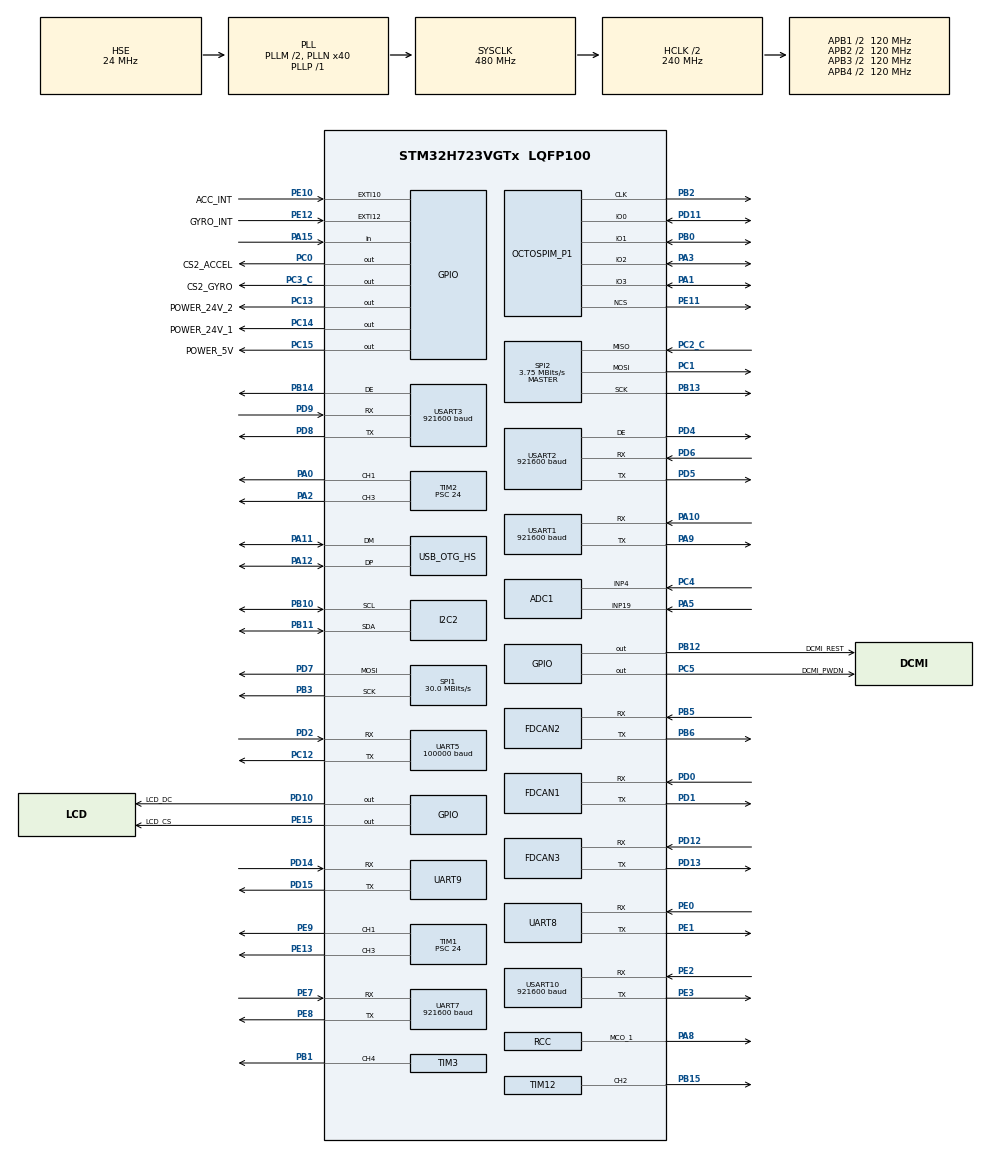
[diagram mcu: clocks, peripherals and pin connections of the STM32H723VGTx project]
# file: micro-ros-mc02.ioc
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ADC1.Channel-0\#ChannelRegularConversion=ADC_CHANNEL_4
ADC1.Channel-1\#ChannelRegularConversion=ADC_CHANNEL_19
ADC1.ClockPrescaler=ADC_CLOCK_ASYNC_DIV64
ADC1.ContinuousConvMode=ENABLE
ADC1.ConversionDataManagement=ADC_CONVERSIONDATA_DMA_CIRCULAR
ADC1.NbrOfConversion=2
ADC1.NbrOfConversionFlag=1
ADC1.OffsetNumber-0\#ChannelRegularConversion=ADC_OFFSET_NONE
ADC1.OffsetNumber-1\#ChannelRegularConversion=ADC_OFFSET_NONE
ADC1.OffsetSignedSaturation-0\#ChannelRegularConversion=DISABLE
ADC1.OffsetSignedSaturation-1\#ChannelRegularConversion=DISABLE
ADC1.Rank-0\#ChannelRegularConversion=1
ADC1.Rank-1\#ChannelRegularConversion=2
ADC1.SamplingTime-0\#ChannelRegularConversion=ADC_SAMPLETIME_32CYCLES_5
ADC1.SamplingTime-1\#ChannelRegularConversion=ADC_SAMPLETIME_32CYCLES_5
ADC1.master=1
CORTEX_M7.BaseAddress-Cortex_Memory_Protection_Unit_Region0_Settings=0x24000000
CORTEX_M7.CPU_DCache=Disabled
CORTEX_M7.CPU_ICache=Disabled
CORTEX_M7.Enable-Cortex_Memory_Protection_Unit_Region0_Settings=MPU_REGION_ENABLE
CORTEX_M7.IsBufferable-Cortex_Memory_Protection_Unit_Region0_Settings=MPU_ACCESS_BUFFERABLE
CORTEX_M7.IsCacheable-Cortex_Memory_Protection_Unit_Region0_Settings=MPU_ACCESS_CACHEABLE
CORTEX_M7.MPU_Control=__NULL
CORTEX_M7.Size-Cortex_Memory_Protection_Unit_Region0_Settings=MPU_REGION_SIZE_512B
CORTEX_M7.TypeExtField-Cortex_Memory_Protection_Unit_Region0_Settings=MPU_TEX_LEVEL1
Dma.ADC1.0.Direction=DMA_PERIPH_TO_MEMORY
Dma.ADC1.0.EventEnable=DISABLE
Dma.ADC1.0.FIFOMode=DMA_FIFOMODE_DISABLE
Dma.ADC1.0.Instance=DMA1_Stream0
Dma.ADC1.0.MemDataAlignment=DMA_MDATAALIGN_HALFWORD
Dma.ADC1.0.MemInc=DMA_MINC_ENABLE
Dma.ADC1.0.Mode=DMA_CIRCULAR
Dma.ADC1.0.PeriphDataAlignment=DMA_PDATAALIGN_HALFWORD
Dma.ADC1.0.PeriphInc=DMA_PINC_DISABLE
Dma.ADC1.0.Polarity=HAL_DMAMUX_REQ_GEN_RISING
Dma.ADC1.0.Priority=DMA_PRIORITY_LOW
Dma.ADC1.0.RequestNumber=1
Dma.ADC1.0.SignalID=NONE
Dma.ADC1.0.SyncEnable=DISABLE
Dma.ADC1.0.SyncPolarity=HAL_DMAMUX_SYNC_NO_EVENT
Dma.ADC1.0.SyncRequestNumber=1
Dma.ADC1.0.SyncSignalID=NONE
Dma.I2C2_RX.2.Direction=DMA_PERIPH_TO_MEMORY
Dma.I2C2_RX.2.EventEnable=DISABLE
Dma.I2C2_RX.2.FIFOMode=DMA_FIFOMODE_DISABLE
Dma.I2C2_RX.2.Instance=DMA1_Stream2
Dma.I2C2_RX.2.MemDataAlignment=DMA_MDATAALIGN_BYTE
Dma.I2C2_RX.2.MemInc=DMA_MINC_ENABLE
Dma.I2C2_RX.2.Mode=DMA_NORMAL
Dma.I2C2_RX.2.PeriphDataAlignment=DMA_PDATAALIGN_BYTE
Dma.I2C2_RX.2.PeriphInc=DMA_PINC_DISABLE
Dma.I2C2_RX.2.Polarity=HAL_DMAMUX_REQ_GEN_RISING
Dma.I2C2_RX.2.Priority=DMA_PRIORITY_LOW
Dma.I2C2_RX.2.RequestNumber=1
Dma.I2C2_RX.2.SignalID=NONE
Dma.I2C2_RX.2.SyncEnable=DISABLE
Dma.I2C2_RX.2.SyncPolarity=HAL_DMAMUX_SYNC_NO_EVENT
Dma.I2C2_RX.2.SyncRequestNumber=1
Dma.I2C2_RX.2.SyncSignalID=NONE
Dma.I2C2_TX.3.Direction=DMA_MEMORY_TO_PERIPH
Dma.I2C2_TX.3.EventEnable=DISABLE
Dma.I2C2_TX.3.FIFOMode=DMA_FIFOMODE_DISABLE
Dma.I2C2_TX.3.Instance=DMA1_Stream3
Dma.I2C2_TX.3.MemDataAlignment=DMA_MDATAALIGN_BYTE
Dma.I2C2_TX.3.MemInc=DMA_MINC_ENABLE
Dma.I2C2_TX.3.Mode=DMA_NORMAL
Dma.I2C2_TX.3.PeriphDataAlignment=DMA_PDATAALIGN_BYTE
Dma.I2C2_TX.3.PeriphInc=DMA_PINC_DISABLE
Dma.I2C2_TX.3.Polarity=HAL_DMAMUX_REQ_GEN_RISING
Dma.I2C2_TX.3.Priority=DMA_PRIORITY_LOW
Dma.I2C2_TX.3.RequestNumber=1
Dma.I2C2_TX.3.SignalID=NONE
Dma.I2C2_TX.3.SyncEnable=DISABLE
Dma.I2C2_TX.3.SyncPolarity=HAL_DMAMUX_SYNC_NO_EVENT
Dma.I2C2_TX.3.SyncRequestNumber=1
Dma.I2C2_TX.3.SyncSignalID=NONE
Dma.Request0=ADC1
Dma.Request1=UART5_RX
Dma.Request10=USART1_TX
Dma.Request11=USART1_RX
Dma.Request12=UART8_TX
Dma.Request13=UART8_RX
Dma.Request14=UART7_RX
Dma.Request15=UART7_TX
Dma.Request2=I2C2_RX
Dma.Request3=I2C2_TX
Dma.Request4=UART9_RX
Dma.Request5=UART9_TX
Dma.Request6=USART3_RX
Dma.Request7=USART3_TX
Dma.Request8=USART2_RX
Dma.Request9=USART2_TX
Dma.UART5_RX.1.Direction=DMA_PERIPH_TO_MEMORY
Dma.UART5_RX.1.EventEnable=DISABLE
Dma.UART5_RX.1.FIFOMode=DMA_FIFOMODE_DISABLE
Dma.UART5_RX.1.Instance=DMA1_Stream7
Dma.UART5_RX.1.MemDataAlignment=DMA_MDATAALIGN_BYTE
Dma.UART5_RX.1.MemInc=DMA_MINC_ENABLE
Dma.UART5_RX.1.Mode=DMA_NORMAL
Dma.UART5_RX.1.PeriphDataAlignment=DMA_PDATAALIGN_BYTE
Dma.UART5_RX.1.PeriphInc=DMA_PINC_DISABLE
Dma.UART5_RX.1.Polarity=HAL_DMAMUX_REQ_GEN_RISING
Dma.UART5_RX.1.Priority=DMA_PRIORITY_HIGH
Dma.UART5_RX.1.RequestNumber=1
Dma.UART5_RX.1.SignalID=NONE
Dma.UART5_RX.1.SyncEnable=DISABLE
Dma.UART5_RX.1.SyncPolarity=HAL_DMAMUX_SYNC_NO_EVENT
Dma.UART5_RX.1.SyncRequestNumber=1
Dma.UART5_RX.1.SyncSignalID=NONE
Dma.UART7_RX.14.Direction=DMA_PERIPH_TO_MEMORY
Dma.UART7_RX.14.EventEnable=DISABLE
Dma.UART7_RX.14.FIFOMode=DMA_FIFOMODE_DISABLE
Dma.UART7_RX.14.Instance=DMA2_Stream4
Dma.UART7_RX.14.MemDataAlignment=DMA_MDATAALIGN_BYTE
Dma.UART7_RX.14.MemInc=DMA_MINC_ENABLE
Dma.UART7_RX.14.Mode=DMA_CIRCULAR
Dma.UART7_RX.14.PeriphDataAlignment=DMA_PDATAALIGN_BYTE
Dma.UART7_RX.14.PeriphInc=DMA_PINC_DISABLE
Dma.UART7_RX.14.Polarity=HAL_DMAMUX_REQ_GEN_RISING
Dma.UART7_RX.14.Priority=DMA_PRIORITY_VERY_HIGH
Dma.UART7_RX.14.RequestNumber=1
Dma.UART7_RX.14.SignalID=NONE
Dma.UART7_RX.14.SyncEnable=DISABLE
Dma.UART7_RX.14.SyncPolarity=HAL_DMAMUX_SYNC_NO_EVENT
Dma.UART7_RX.14.SyncRequestNumber=1
Dma.UART7_RX.14.SyncSignalID=NONE
Dma.UART7_TX.15.Direction=DMA_MEMORY_TO_PERIPH
Dma.UART7_TX.15.EventEnable=DISABLE
Dma.UART7_TX.15.FIFOMode=DMA_FIFOMODE_DISABLE
Dma.UART7_TX.15.Instance=DMA2_Stream5
Dma.UART7_TX.15.MemDataAlignment=DMA_MDATAALIGN_BYTE
Dma.UART7_TX.15.MemInc=DMA_MINC_ENABLE
Dma.UART7_TX.15.Mode=DMA_NORMAL
Dma.UART7_TX.15.PeriphDataAlignment=DMA_PDATAALIGN_BYTE
Dma.UART7_TX.15.PeriphInc=DMA_PINC_DISABLE
Dma.UART7_TX.15.Polarity=HAL_DMAMUX_REQ_GEN_RISING
Dma.UART7_TX.15.Priority=DMA_PRIORITY_VERY_HIGH
Dma.UART7_TX.15.RequestNumber=1
Dma.UART7_TX.15.SignalID=NONE
Dma.UART7_TX.15.SyncEnable=DISABLE
Dma.UART7_TX.15.SyncPolarity=HAL_DMAMUX_SYNC_NO_EVENT
Dma.UART7_TX.15.SyncRequestNumber=1
Dma.UART7_TX.15.SyncSignalID=NONE
Dma.UART8_RX.13.Direction=DMA_PERIPH_TO_MEMORY
Dma.UART8_RX.13.EventEnable=DISABLE
Dma.UART8_RX.13.FIFOMode=DMA_FIFOMODE_DISABLE
Dma.UART8_RX.13.Instance=DMA2_Stream7
Dma.UART8_RX.13.MemDataAlignment=DMA_MDATAALIGN_BYTE
Dma.UART8_RX.13.MemInc=DMA_MINC_ENABLE
Dma.UART8_RX.13.Mode=DMA_NORMAL
Dma.UART8_RX.13.PeriphDataAlignment=DMA_PDATAALIGN_BYTE
Dma.UART8_RX.13.PeriphInc=DMA_PINC_DISABLE
Dma.UART8_RX.13.Polarity=HAL_DMAMUX_REQ_GEN_RISING
Dma.UART8_RX.13.Priority=DMA_PRIORITY_LOW
Dma.UART8_RX.13.RequestNumber=1
Dma.UART8_RX.13.SignalID=NONE
Dma.UART8_RX.13.SyncEnable=DISABLE
Dma.UART8_RX.13.SyncPolarity=HAL_DMAMUX_SYNC_NO_EVENT
Dma.UART8_RX.13.SyncRequestNumber=1
Dma.UART8_RX.13.SyncSignalID=NONE
Dma.UART8_TX.12.Direction=DMA_MEMORY_TO_PERIPH
Dma.UART8_TX.12.EventEnable=DISABLE
Dma.UART8_TX.12.FIFOMode=DMA_FIFOMODE_DISABLE
Dma.UART8_TX.12.Instance=DMA2_Stream6
Dma.UART8_TX.12.MemDataAlignment=DMA_MDATAALIGN_BYTE
Dma.UART8_TX.12.MemInc=DMA_MINC_ENABLE
Dma.UART8_TX.12.Mode=DMA_NORMAL
Dma.UART8_TX.12.PeriphDataAlignment=DMA_PDATAALIGN_BYTE
Dma.UART8_TX.12.PeriphInc=DMA_PINC_DISABLE
Dma.UART8_TX.12.Polarity=HAL_DMAMUX_REQ_GEN_RISING
Dma.UART8_TX.12.Priority=DMA_PRIORITY_LOW
Dma.UART8_TX.12.RequestNumber=1
Dma.UART8_TX.12.SignalID=NONE
Dma.UART8_TX.12.SyncEnable=DISABLE
Dma.UART8_TX.12.SyncPolarity=HAL_DMAMUX_SYNC_NO_EVENT
Dma.UART8_TX.12.SyncRequestNumber=1
Dma.UART8_TX.12.SyncSignalID=NONE
Dma.UART9_RX.4.Direction=DMA_PERIPH_TO_MEMORY
Dma.UART9_RX.4.EventEnable=DISABLE
Dma.UART9_RX.4.FIFOMode=DMA_FIFOMODE_DISABLE
Dma.UART9_RX.4.Instance=DMA1_Stream4
Dma.UART9_RX.4.MemDataAlignment=DMA_MDATAALIGN_BYTE
Dma.UART9_RX.4.MemInc=DMA_MINC_ENABLE
Dma.UART9_RX.4.Mode=DMA_NORMAL
Dma.UART9_RX.4.PeriphDataAlignment=DMA_PDATAALIGN_BYTE
Dma.UART9_RX.4.PeriphInc=DMA_PINC_DISABLE
Dma.UART9_RX.4.Polarity=HAL_DMAMUX_REQ_GEN_RISING
Dma.UART9_RX.4.Priority=DMA_PRIORITY_HIGH
Dma.UART9_RX.4.RequestNumber=1
Dma.UART9_RX.4.SignalID=NONE
Dma.UART9_RX.4.SyncEnable=DISABLE
Dma.UART9_RX.4.SyncPolarity=HAL_DMAMUX_SYNC_NO_EVENT
Dma.UART9_RX.4.SyncRequestNumber=1
Dma.UART9_RX.4.SyncSignalID=NONE
Dma.UART9_TX.5.Direction=DMA_MEMORY_TO_PERIPH
Dma.UART9_TX.5.EventEnable=DISABLE
Dma.UART9_TX.5.FIFOMode=DMA_FIFOMODE_DISABLE
Dma.UART9_TX.5.Instance=DMA1_Stream5
Dma.UART9_TX.5.MemDataAlignment=DMA_MDATAALIGN_BYTE
Dma.UART9_TX.5.MemInc=DMA_MINC_ENABLE
Dma.UART9_TX.5.Mode=DMA_NORMAL
Dma.UART9_TX.5.PeriphDataAlignment=DMA_PDATAALIGN_BYTE
Dma.UART9_TX.5.PeriphInc=DMA_PINC_DISABLE
Dma.UART9_TX.5.Polarity=HAL_DMAMUX_REQ_GEN_RISING
Dma.UART9_TX.5.Priority=DMA_PRIORITY_HIGH
Dma.UART9_TX.5.RequestNumber=1
Dma.UART9_TX.5.SignalID=NONE
Dma.UART9_TX.5.SyncEnable=DISABLE
Dma.UART9_TX.5.SyncPolarity=HAL_DMAMUX_SYNC_NO_EVENT
Dma.UART9_TX.5.SyncRequestNumber=1
Dma.UART9_TX.5.SyncSignalID=NONE
Dma.USART1_RX.11.Direction=DMA_PERIPH_TO_MEMORY
Dma.USART1_RX.11.EventEnable=DISABLE
Dma.USART1_RX.11.FIFOMode=DMA_FIFOMODE_DISABLE
Dma.USART1_RX.11.Instance=DMA2_Stream3
Dma.USART1_RX.11.MemDataAlignment=DMA_MDATAALIGN_BYTE
Dma.USART1_RX.11.MemInc=DMA_MINC_ENABLE
Dma.USART1_RX.11.Mode=DMA_NORMAL
Dma.USART1_RX.11.PeriphDataAlignment=DMA_PDATAALIGN_BYTE
Dma.USART1_RX.11.PeriphInc=DMA_PINC_DISABLE
Dma.USART1_RX.11.Polarity=HAL_DMAMUX_REQ_GEN_RISING
Dma.USART1_RX.11.Priority=DMA_PRIORITY_VERY_HIGH
Dma.USART1_RX.11.RequestNumber=1
Dma.USART1_RX.11.SignalID=NONE
Dma.USART1_RX.11.SyncEnable=DISABLE
Dma.USART1_RX.11.SyncPolarity=HAL_DMAMUX_SYNC_NO_EVENT
Dma.USART1_RX.11.SyncRequestNumber=1
Dma.USART1_RX.11.SyncSignalID=NONE
Dma.USART1_TX.10.Direction=DMA_MEMORY_TO_PERIPH
Dma.USART1_TX.10.EventEnable=DISABLE
Dma.USART1_TX.10.FIFOMode=DMA_FIFOMODE_DISABLE
Dma.USART1_TX.10.Instance=DMA2_Stream2
Dma.USART1_TX.10.MemDataAlignment=DMA_MDATAALIGN_BYTE
Dma.USART1_TX.10.MemInc=DMA_MINC_ENABLE
Dma.USART1_TX.10.Mode=DMA_NORMAL
Dma.USART1_TX.10.PeriphDataAlignment=DMA_PDATAALIGN_BYTE
Dma.USART1_TX.10.PeriphInc=DMA_PINC_DISABLE
Dma.USART1_TX.10.Polarity=HAL_DMAMUX_REQ_GEN_RISING
Dma.USART1_TX.10.Priority=DMA_PRIORITY_VERY_HIGH
Dma.USART1_TX.10.RequestNumber=1
Dma.USART1_TX.10.SignalID=NONE
Dma.USART1_TX.10.SyncEnable=DISABLE
Dma.USART1_TX.10.SyncPolarity=HAL_DMAMUX_SYNC_NO_EVENT
Dma.USART1_TX.10.SyncRequestNumber=1
Dma.USART1_TX.10.SyncSignalID=NONE
Dma.USART2_RX.8.Direction=DMA_PERIPH_TO_MEMORY
Dma.USART2_RX.8.EventEnable=DISABLE
Dma.USART2_RX.8.FIFOMode=DMA_FIFOMODE_DISABLE
Dma.USART2_RX.8.Instance=DMA2_Stream0
Dma.USART2_RX.8.MemDataAlignment=DMA_MDATAALIGN_BYTE
Dma.USART2_RX.8.MemInc=DMA_MINC_ENABLE
Dma.USART2_RX.8.Mode=DMA_NORMAL
Dma.USART2_RX.8.PeriphDataAlignment=DMA_PDATAALIGN_BYTE
Dma.USART2_RX.8.PeriphInc=DMA_PINC_DISABLE
Dma.USART2_RX.8.Polarity=HAL_DMAMUX_REQ_GEN_RISING
Dma.USART2_RX.8.Priority=DMA_PRIORITY_LOW
Dma.USART2_RX.8.RequestNumber=1
Dma.USART2_RX.8.SignalID=NONE
Dma.USART2_RX.8.SyncEnable=DISABLE
Dma.USART2_RX.8.SyncPolarity=HAL_DMAMUX_SYNC_NO_EVENT
Dma.USART2_RX.8.SyncRequestNumber=1
Dma.USART2_RX.8.SyncSignalID=NONE
Dma.USART2_TX.9.Direction=DMA_MEMORY_TO_PERIPH
Dma.USART2_TX.9.EventEnable=DISABLE
Dma.USART2_TX.9.FIFOMode=DMA_FIFOMODE_DISABLE
Dma.USART2_TX.9.Instance=DMA2_Stream1
Dma.USART2_TX.9.MemDataAlignment=DMA_MDATAALIGN_BYTE
Dma.USART2_TX.9.MemInc=DMA_MINC_ENABLE
Dma.USART2_TX.9.Mode=DMA_NORMAL
Dma.USART2_TX.9.PeriphDataAlignment=DMA_PDATAALIGN_BYTE
Dma.USART2_TX.9.PeriphInc=DMA_PINC_DISABLE
Dma.USART2_TX.9.Polarity=HAL_DMAMUX_REQ_GEN_RISING
Dma.USART2_TX.9.Priority=DMA_PRIORITY_LOW
Dma.USART2_TX.9.RequestNumber=1
Dma.USART2_TX.9.SignalID=NONE
Dma.USART2_TX.9.SyncEnable=DISABLE
Dma.USART2_TX.9.SyncPolarity=HAL_DMAMUX_SYNC_NO_EVENT
Dma.USART2_TX.9.SyncRequestNumber=1
Dma.USART2_TX.9.SyncSignalID=NONE
Dma.USART3_RX.6.Direction=DMA_PERIPH_TO_MEMORY
Dma.USART3_RX.6.EventEnable=DISABLE
Dma.USART3_RX.6.FIFOMode=DMA_FIFOMODE_DISABLE
Dma.USART3_RX.6.Instance=DMA1_Stream6
Dma.USART3_RX.6.MemDataAlignment=DMA_MDATAALIGN_BYTE
Dma.USART3_RX.6.MemInc=DMA_MINC_ENABLE
Dma.USART3_RX.6.Mode=DMA_NORMAL
Dma.USART3_RX.6.PeriphDataAlignment=DMA_PDATAALIGN_BYTE
Dma.USART3_RX.6.PeriphInc=DMA_PINC_DISABLE
Dma.USART3_RX.6.Polarity=HAL_DMAMUX_REQ_GEN_RISING
Dma.USART3_RX.6.Priority=DMA_PRIORITY_LOW
Dma.USART3_RX.6.RequestNumber=1
Dma.USART3_RX.6.SignalID=NONE
Dma.USART3_RX.6.SyncEnable=DISABLE
Dma.USART3_RX.6.SyncPolarity=HAL_DMAMUX_SYNC_NO_EVENT
Dma.USART3_RX.6.SyncRequestNumber=1
Dma.USART3_RX.6.SyncSignalID=NONE
Dma.USART3_TX.7.Direction=DMA_MEMORY_TO_PERIPH
Dma.USART3_TX.7.EventEnable=DISABLE
Dma.USART3_TX.7.FIFOMode=DMA_FIFOMODE_DISABLE
Dma.USART3_TX.7.Instance=DMA1_Stream1
Dma.USART3_TX.7.MemDataAlignment=DMA_MDATAALIGN_BYTE
Dma.USART3_TX.7.MemInc=DMA_MINC_ENABLE
Dma.USART3_TX.7.Mode=DMA_NORMAL
Dma.USART3_TX.7.PeriphDataAlignment=DMA_PDATAALIGN_BYTE
Dma.USART3_TX.7.PeriphInc=DMA_PINC_DISABLE
Dma.USART3_TX.7.Polarity=HAL_DMAMUX_REQ_GEN_RISING
Dma.USART3_TX.7.Priority=DMA_PRIORITY_LOW
Dma.USART3_TX.7.RequestNumber=1
Dma.USART3_TX.7.SignalID=NONE
Dma.USART3_TX.7.SyncEnable=DISABLE
Dma.USART3_TX.7.SyncPolarity=HAL_DMAMUX_SYNC_NO_EVENT
Dma.USART3_TX.7.SyncRequestNumber=1
Dma.USART3_TX.7.SyncSignalID=NONE
FDCAN1.CalculateBaudRateNominal=1000000
FDCAN1.CalculateTimeBitNominal=1000
FDCAN1.CalculateTimeQuantumNominal=25.0
FDCAN1.DataPrescaler=3
FDCAN1.DataSyncJumpWidth=10
FDCAN1.DataTimeSeg1=29
FDCAN1.DataTimeSeg2=10
FDCAN1.NominalPrescaler=3
FDCAN1.NominalTimeSeg1=29
FDCAN1.NominalTimeSeg2=10
FDCAN1.ProtocolException=ENABLE
FDCAN1.RxFifo0ElmtsNbr=4
FDCAN1.RxFifo1ElmtsNbr=4
FDCAN1.StdFiltersNbr=14
FDCAN1.TxFifoQueueElmtsNbr=4
FDCAN2.CalculateBaudRateNominal=1000000
FDCAN2.CalculateTimeBitNominal=1000
FDCAN2.CalculateTimeQuantumNominal=25.0
FDCAN2.DataPrescaler=3
FDCAN2.DataSyncJumpWidth=10
FDCAN2.DataTimeSeg1=29
FDCAN2.DataTimeSeg2=10
FDCAN2.MessageRAMOffset=0x406
FDCAN2.NominalPrescaler=3
FDCAN2.NominalTimeSeg1=29
FDCAN2.NominalTimeSeg2=10
FDCAN2.RxFifo0ElmtsNbr=4
FDCAN2.RxFifo1ElmtsNbr=4
FDCAN2.StdFiltersNbr=14
FDCAN2.TxFifoQueueElmtsNbr=4
FDCAN3.CalculateBaudRateNominal=1000000
FDCAN3.CalculateTimeBitNominal=1000
FDCAN3.CalculateTimeQuantumNominal=25.0
FDCAN3.DataPrescaler=3
FDCAN3.DataSyncJumpWidth=10
FDCAN3.DataTimeSeg1=29
FDCAN3.DataTimeSeg2=10
FDCAN3.MessageRAMOffset=0x812
FDCAN3.NominalPrescaler=3
FDCAN3.NominalTimeSeg1=29
FDCAN3.NominalTimeSeg2=10
FDCAN3.RxFifo0ElmtsNbr=4
FDCAN3.RxFifo1ElmtsNbr=4
FDCAN3.StdFiltersNbr=14
FDCAN3.TxFifoQueueElmtsNbr=4
FREERTOS.INCLUDE_eTaskGetState=0
FREERTOS.INCLUDE_uxTaskGetStackHighWaterMark=0
FREERTOS.INCLUDE_vTaskDelayUntil=1
FREERTOS.INCLUDE_xQueueGetMutexHolder=1
FREERTOS.INCLUDE_xTaskGetCurrentTaskHandle=0
FREERTOS.INCLUDE_xTimerPendFunctionCall=0
FREERTOS.Tasks01=defaultTask,0,3000,StartDefaultTask,Default,NULL,Dynamic,NULL,NULL
FREERTOS.configENABLE_FPU=1
FREERTOS.configGENERATE_RUN_TIME_STATS=1
FREERTOS.configTOTAL_HEAP_SIZE=20480
FREERTOS.configUSE_COUNTING_SEMAPHORES=1
FREERTOS.configUSE_RECURSIVE_MUTEXES=0
FREERTOS.configUSE_TIMERS=1
FREERTOS.configUSE_TRACE_FACILITY=1
I2C2.Timing=0x307075B1
Mcu.Family=STM32H7
Mcu.Name=STM32H723VGTx
Mcu.Package=LQFP100
NVIC.DMA1_Stream0_IRQn=true\:5\:0\:false\:false\:true\:false\:false\:true\:true
NVIC.DMA1_Stream1_IRQn=true\:5\:0\:false\:false\:true\:true\:false\:true\:true
NVIC.DMA1_Stream2_IRQn=true\:5\:0\:false\:false\:true\:true\:false\:true\:true
NVIC.DMA1_Stream3_IRQn=true\:5\:0\:false\:false\:true\:true\:false\:true\:true
NVIC.DMA1_Stream4_IRQn=true\:5\:0\:false\:false\:true\:true\:false\:true\:true
NVIC.DMA1_Stream5_IRQn=true\:5\:0\:false\:false\:true\:true\:false\:true\:true
NVIC.DMA1_Stream6_IRQn=true\:5\:0\:false\:false\:true\:true\:false\:true\:true
NVIC.DMA1_Stream7_IRQn=true\:5\:0\:false\:false\:true\:true\:false\:true\:true
NVIC.DMA2_Stream0_IRQn=true\:5\:0\:false\:false\:true\:true\:false\:true\:true
NVIC.DMA2_Stream1_IRQn=true\:5\:0\:false\:false\:true\:true\:false\:true\:true
NVIC.DMA2_Stream2_IRQn=true\:5\:0\:false\:false\:true\:true\:false\:true\:true
NVIC.DMA2_Stream3_IRQn=true\:5\:0\:false\:false\:true\:true\:false\:true\:true
NVIC.DMA2_Stream4_IRQn=true\:5\:0\:false\:false\:true\:true\:false\:true\:true
NVIC.DMA2_Stream5_IRQn=true\:5\:0\:false\:false\:true\:true\:false\:true\:true
NVIC.DMA2_Stream6_IRQn=true\:5\:0\:false\:false\:true\:true\:false\:true\:true
NVIC.DMA2_Stream7_IRQn=true\:5\:0\:false\:false\:true\:true\:false\:true\:true
NVIC.FDCAN1_IT0_IRQn=true\:5\:0\:false\:false\:true\:true\:true\:true\:true
NVIC.FDCAN1_IT1_IRQn=true\:5\:0\:false\:false\:true\:true\:true\:true\:true
NVIC.FDCAN2_IT0_IRQn=true\:5\:0\:false\:false\:true\:true\:true\:true\:true
NVIC.FDCAN2_IT1_IRQn=true\:5\:0\:false\:false\:true\:true\:true\:true\:true
NVIC.FDCAN3_IT0_IRQn=true\:5\:0\:false\:false\:true\:true\:true\:true\:true
NVIC.FDCAN3_IT1_IRQn=true\:5\:0\:false\:false\:true\:true\:true\:true\:true
NVIC.I2C2_EV_IRQn=true\:5\:0\:false\:false\:true\:true\:true\:true\:true
NVIC.OTG_HS_IRQn=true\:5\:0\:false\:false\:true\:true\:false\:true\:true
NVIC.PriorityGroup=NVIC_PRIORITYGROUP_4
NVIC.TIM23_IRQn=true\:15\:0\:false\:false\:true\:false\:false\:true\:true
NVIC.TimeBase=TIM23_IRQn
NVIC.TimeBaseIP=TIM23
NVIC.UART5_IRQn=true\:5\:0\:false\:false\:true\:true\:true\:true\:true
NVIC.UART7_IRQn=true\:5\:0\:true\:false\:true\:false\:true\:true\:true
NVIC.USART10_IRQn=true\:5\:0\:true\:false\:true\:false\:true\:true\:true
NVIC.USART1_IRQn=true\:5\:0\:true\:false\:true\:false\:true\:true\:true
NVIC.USART2_IRQn=true\:5\:0\:true\:false\:true\:false\:true\:true\:true
NVIC.USART3_IRQn=true\:5\:0\:true\:false\:true\:false\:true\:true\:true
OCTOSPI2.ClockMode=HAL_OSPI_CLOCK_MODE_3
OCTOSPI2.ClockPrescaler=3
OCTOSPI2.DeviceSize=23
OCTOSPI2.DeviceType=SPI_DEVICE_FLASH
OCTOSPI2.FifoThreshold=8
OCTOSPI2.SampleShifting=HAL_OSPI_SAMPLE_SHIFTING_HALFCYCLE
PA0.Signal=S_TIM2_CH1_ETR
PA1.Mode=OCTOSPI2_IOL_Port1L
PA1.Signal=OCTOSPIM_P1_IO3
PA10.Mode=Asynchronous
PA10.Signal=USART1_RX
PA11.Mode=Device_Only_FS
PA11.Signal=USB_OTG_HS_DM
PA12.Mode=Device_Only_FS
PA12.Signal=USB_OTG_HS_DP
PA13(JTMS/SWDIO).Mode=Serial_Wire
PA13(JTMS/SWDIO).Signal=DEBUG_JTMS-SWDIO
PA14(JTCK/SWCLK).Mode=Serial_Wire
PA14(JTCK/SWCLK).Signal=DEBUG_JTCK-SWCLK
PA15(JTDI).Signal=GPIO_Input
PA2.Signal=S_TIM2_CH3
PA3.Mode=OCTOSPI2_IOL_Port1L
PA3.Signal=OCTOSPIM_P1_IO2
PA5.Signal=ADCx_INP19
PA8.Mode=Clock-out-1
PA8.Signal=RCC_MCO_1
PA9.Mode=Asynchronous
PA9.Signal=USART1_TX
PB0.Mode=OCTOSPI2_IOL_Port1L
PB0.Signal=OCTOSPIM_P1_IO1
PB1.Signal=S_TIM3_CH4
PB10.Mode=I2C
PB10.Signal=I2C2_SCL
PB11.Mode=I2C
PB11.Signal=I2C2_SDA
PB12.GPIO_Label=DCMI_REST
PB12.GPIO_PuPd=GPIO_PULLUP
PB12.GPIO_Speed=GPIO_SPEED_FREQ_VERY_HIGH
PB12.PinState=GPIO_PIN_SET
PB12.Signal=GPIO_Output
PB13.GPIO_Speed=GPIO_SPEED_FREQ_VERY_HIGH
PB13.Mode=Full_Duplex_Master
PB13.Signal=SPI2_SCK
PB14.Mode=Hardware Flow Control (RS485)
PB14.Signal=USART3_DE
PB15.Signal=S_TIM12_CH2
PB2.Mode=O2_P1_CLK
PB2.Signal=OCTOSPIM_P1_CLK
PB3(JTDO/TRACESWO).GPIO_Speed=GPIO_SPEED_FREQ_VERY_HIGH
PB3(JTDO/TRACESWO).Mode=TX_Only_Simplex_Unidirect_Master
PB3(JTDO/TRACESWO).Signal=SPI1_SCK
PB5.Mode=FDCAN_Activate
PB5.Signal=FDCAN2_RX
PB6.Mode=FDCAN_Activate
PB6.Signal=FDCAN2_TX
PC0.GPIO_Label=CS2_ACCEL
PC0.GPIO_Speed=GPIO_SPEED_FREQ_VERY_HIGH
PC0.PinState=GPIO_PIN_SET
PC0.Signal=GPIO_Output
PC1.GPIO_Speed=GPIO_SPEED_FREQ_VERY_HIGH
PC1.Mode=Full_Duplex_Master
PC1.Signal=SPI2_MOSI
PC12.Mode=Asynchronous
PC12.Signal=UART5_TX
PC13.GPIO_Label=POWER_24V_2
PC13.PinState=GPIO_PIN_SET
PC13.Signal=GPIO_Output
PC14-OSC32_IN.GPIO_Label=POWER_24V_1
PC14-OSC32_IN.PinState=GPIO_PIN_SET
PC14-OSC32_IN.Signal=GPIO_Output
PC15-OSC32_OUT.GPIO_Label=POWER_5V
PC15-OSC32_OUT.PinState=GPIO_PIN_SET
PC15-OSC32_OUT.Signal=GPIO_Output
PC2_C.GPIO_Speed=GPIO_SPEED_FREQ_VERY_HIGH
PC2_C.Mode=Full_Duplex_Master
PC2_C.Signal=SPI2_MISO
PC3_C.GPIO_Label=CS2_GYRO
PC3_C.GPIO_Speed=GPIO_SPEED_FREQ_VERY_HIGH
PC3_C.PinState=GPIO_PIN_SET
PC3_C.Signal=GPIO_Output
PC4.Signal=ADCx_INP4
PC5.GPIO_Label=DCMI_PWDN
PC5.GPIO_PuPd=GPIO_NOPULL
PC5.GPIO_Speed=GPIO_SPEED_FREQ_VERY_HIGH
PC5.PinState=GPIO_PIN_SET
PC5.Signal=GPIO_Output
PD0.Mode=FDCAN_Activate
PD0.Signal=FDCAN1_RX
PD1.Mode=FDCAN_Activate
PD1.Signal=FDCAN1_TX
PD10.GPIO_Label=LCD_DC
PD10.Signal=GPIO_Output
PD11.Mode=OCTOSPI2_IOL_Port1L
PD11.Signal=OCTOSPIM_P1_IO0
PD12.Mode=FDCAN_Activate
PD12.Signal=FDCAN3_RX
PD13.Mode=FDCAN_Activate
PD13.Signal=FDCAN3_TX
PD14.Mode=Asynchronous
PD14.Signal=UART9_RX
PD15.Mode=Asynchronous
PD15.Signal=UART9_TX
PD2.Mode=Asynchronous
PD2.Signal=UART5_RX
PD4.Mode=Hardware Flow Control (RS485)
PD4.Signal=USART2_DE
PD5.Mode=Asynchronous
PD5.Signal=USART2_TX
PD6.Mode=Asynchronous
PD6.Signal=USART2_RX
PD7.GPIO_Speed=GPIO_SPEED_FREQ_VERY_HIGH
PD7.Mode=TX_Only_Simplex_Unidirect_Master
PD7.Signal=SPI1_MOSI
PD8.Mode=Asynchronous
PD8.Signal=USART3_TX
PD9.Mode=Asynchronous
PD9.Signal=USART3_RX
PE0.Mode=Asynchronous
PE0.Signal=UART8_RX
PE1.Mode=Asynchronous
PE1.Signal=UART8_TX
PE10.GPIO_Label=ACC_INT
PE10.Signal=GPXTI10
PE11.Mode=OCTOSPI2_Port1_NCS
PE11.Signal=OCTOSPIM_P1_NCS
PE12.GPIO_Label=GYRO_INT
PE12.Signal=GPXTI12
PE13.Signal=S_TIM1_CH3
PE15.GPIO_Label=LCD_CS
PE15.Signal=GPIO_Output
PE2.Mode=Asynchronous
PE2.Signal=USART10_RX
PE3.Mode=Asynchronous
PE3.Signal=USART10_TX
PE7.Mode=Asynchronous
PE7.Signal=UART7_RX
PE8.Mode=Asynchronous
PE8.Signal=UART7_TX
PE9.Signal=S_TIM1_CH1
PH0-OSC_IN.Mode=HSE-External-Oscillator
PH0-OSC_IN.Signal=RCC_OSC_IN
PH1-OSC_OUT.Mode=HSE-External-Oscillator
PH1-OSC_OUT.Signal=RCC_OSC_OUT
ProjectManager.HeapSize=0x5000
ProjectManager.StackSize=0x5000
ProjectManager.TargetToolchain=Makefile
RCC.ADCFreq_Value=96000000
RCC.APB1Freq_Value=120000000
RCC.APB2Freq_Value=120000000
RCC.APB3Freq_Value=120000000
RCC.APB4Freq_Value=120000000
RCC.CortexFreq_Value=480000000
RCC.D1PPRE=RCC_APB3_DIV2
RCC.D2PPRE1=RCC_APB1_DIV2
RCC.D2PPRE2=RCC_APB2_DIV2
RCC.D3PPRE=RCC_APB4_DIV2
RCC.DIVM1=2
RCC.DIVM2=2
RCC.DIVN1=40
RCC.DIVN2=16
RCC.DIVP1=1
RCC.DIVQ1=4
RCC.EnbaleCSS=false
RCC.HCLKFreq_Value=240000000
RCC.HPRE=RCC_HCLK_DIV2
RCC.HSE_VALUE=24000000
RCC.PLL2FRACN=0
RCC.PLL2_VCI_Range-AdvancedSettings=RCC_PLL2VCIRANGE_0
RCC.PLL2_VCO_SEL-AdvancedSettings=RCC_PLL2VCOWIDE
RCC.PLL3FRACN=0
RCC.PLL3_VCO_SEL-AdvancedSettings=RCC_PLL3VCOMEDIUM
RCC.PLLFRACN=0
RCC.PLLSourceVirtual=RCC_PLLSOURCE_HSE
RCC.SPI6CLockSelection=RCC_SPI6CLKSOURCE_HSE
RCC.SYSCLKFreq_VALUE=480000000
RCC.SYSCLKSource=RCC_SYSCLKSOURCE_PLLCLK
RCC.USBCLockSelection=RCC_USBCLKSOURCE_HSI48
RCC.USBFreq_Value=48000000
SH.ADCx_INP19.0=ADC1_INP19,IN19-Single-Ended
SH.ADCx_INP4.0=ADC1_INP4,IN4-Single-Ended
SH.S_TIM12_CH2.0=TIM12_CH2,PWM Generation2 CH2
SH.S_TIM1_CH1.0=TIM1_CH1,PWM Generation1 CH1
SH.S_TIM1_CH3.0=TIM1_CH3,PWM Generation3 CH3
SH.S_TIM2_CH1_ETR.0=TIM2_CH1,PWM Generation1 CH1
SH.S_TIM2_CH3.0=TIM2_CH3,PWM Generation3 CH3
SH.S_TIM3_CH4.0=TIM3_CH4,PWM Generation4 CH4
SPI1.BaudRatePrescaler=SPI_BAUDRATEPRESCALER_4
SPI1.CLKPolarity=SPI_POLARITY_HIGH
SPI1.CalculateBaudRate=30.0 MBits/s
SPI1.DataSize=SPI_DATASIZE_8BIT
SPI1.Direction=SPI_DIRECTION_2LINES_TXONLY
SPI1.Mode=SPI_MODE_MASTER
SPI1.VirtualType=VM_MASTER
SPI2.BaudRatePrescaler=SPI_BAUDRATEPRESCALER_32
SPI2.CLKPhase=SPI_PHASE_2EDGE
SPI2.CLKPolarity=SPI_POLARITY_HIGH
SPI2.CalculateBaudRate=3.75 MBits/s
SPI2.DataSize=SPI_DATASIZE_8BIT
SPI2.Direction=SPI_DIRECTION_2LINES
SPI2.Mode=SPI_MODE_MASTER
SPI2.VirtualType=VM_MASTER
STMicroelectronics.X-CUBE-ALGOBUILD.1.4.0.LibraryCcDSPOoLibraryJjDSPOoLibrary=true
TIM1.Channel-PWM\ Generation1\ CH1=TIM_CHANNEL_1
TIM1.Channel-PWM\ Generation3\ CH3=TIM_CHANNEL_3
TIM1.Period=10000
TIM1.Prescaler=24
TIM1.Pulse-PWM\ Generation1\ CH1=5000
TIM1.Pulse-PWM\ Generation3\ CH3=5000
TIM12.Channel-PWM\ Generation2\ CH2=TIM_CHANNEL_2
TIM12.Period=2000-1
TIM12.Prescaler=24-1
TIM2.Channel-PWM\ Generation1\ CH1=TIM_CHANNEL_1
TIM2.Channel-PWM\ Generation3\ CH3=TIM_CHANNEL_3
TIM2.Period=10000
TIM2.Prescaler=24
TIM2.Pulse-PWM\ Generation1\ CH1=5000
TIM2.Pulse-PWM\ Generation3\ CH3=5000
TIM3.AutoReloadPreload=TIM_AUTORELOAD_PRELOAD_ENABLE
TIM3.Channel-PWM\ Generation4\ CH4=TIM_CHANNEL_4
TIM3.OCPolarity_4=TIM_OCPOLARITY_HIGH
TIM3.Period=10000-1
TIM3.Prescaler=24-1
UART5.BaudRate=100000
UART5.DMADisableonRxErrorParam=UART_ADVFEATURE_DMA_DISABLEONRXERROR
UART5.Mode=MODE_RX
UART5.Parity=PARITY_EVEN
UART5.WordLength=WORDLENGTH_9B
UART7.BaudRate=921600
USART1.BaudRate=921600
USART1.VirtualMode-Asynchronous=VM_ASYNC
USART10.BaudRate=921600
USART10.VirtualMode=VM_ASYNC
USART2.BaudRate=921600
USART2.VirtualMode-Asynchronous=VM_ASYNC
USART2.VirtualMode-Hardware\ Flow\ Control\ (RS485)=VM_ASYNC
USART3.BaudRate=921600
USART3.VirtualMode-Asynchronous=VM_ASYNC
USART3.VirtualMode-Hardware\ Flow\ Control\ (RS485)=VM_ASYNC
USB_DEVICE.CLASS_NAME_HS=CDC
USB_DEVICE.VirtualMode=Cdc
USB_DEVICE.VirtualModeHS=Cdc_HS
USB_OTG_HS.VirtualMode-Device_Only_FS=Device_Only_FS
VP_FREERTOS_VS_CMSIS_V1.Mode=CMSIS_V1
VP_OCTOSPI2_VS_quad.Mode=quad_mode
VP_STMicroelectronics.X-CUBE-ALGOBUILD_VS_DSPOoLibraryJjLibrary_1.4.0_1.4.0.Mode=DSPOoLibraryJjLibrary
VP_SYS_VS_tim23.Mode=TIM23
VP_USB_DEVICE_VS_USB_DEVICE_CDC_HS.Mode=CDC_HS
board=custom

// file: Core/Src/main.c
/* USER CODE BEGIN Header */
/**
  ******************************************************************************
  * @file           : main.c
  * @brief          : Main program body
  ******************************************************************************
  * @attention
  *
  * Copyright (c) 2025 STMicroelectronics.
  * All rights reserved.
  *
  * This software is licensed under terms that can be found in the LICENSE file
  * in the root directory of this software component.
  * If no LICENSE file comes with this software, it is provided AS-IS.
  *
  ******************************************************************************
  */
/* USER CODE END Header */
#include "main.h"
#include "cmsis_os.h"
#include "adc.h"
#include "dma.h"
#include "fdcan.h"
#include "i2c.h"
#include "octospi.h"
#include "spi.h"
#include "tim.h"
#include "usart.h"
#include "usb_device.h"
#include "gpio.h"

/* USER CODE BEGIN Includes */
#include "bsp_init.h"
/* USER CODE END Includes */

void SystemClock_Config(void);
void MX_FREERTOS_Init(void);

int main(void)
{

  /* MCU Configuration--------------------------------------------------------*/

  /* Reset of all peripherals, Initializes the Flash interface and the Systick. */
  HAL_Init();

  /* Configure the system clock */
  SystemClock_Config();

  /* Initialize all configured peripherals */
  MX_GPIO_Init();
  MX_DMA_Init();
  MX_ADC1_Init();
  MX_TIM12_Init();
  MX_SPI1_Init();
  MX_SPI2_Init();
  MX_TIM3_Init();
  MX_USART1_UART_Init();
  MX_USART2_UART_Init();
  MX_USART3_UART_Init();
  MX_UART7_Init();
  MX_USART10_UART_Init();
  MX_FDCAN1_Init();
  MX_FDCAN2_Init();
  MX_FDCAN3_Init();
  MX_TIM1_Init();
  MX_TIM2_Init();
  MX_OCTOSPI2_Init();
  MX_UART5_Init();
  MX_UART8_Init();
  MX_UART9_Init();
  MX_I2C2_Init();

  /* Call init function for freertos objects (in cmsis_os2.c) */
  MX_FREERTOS_Init();

  /* Start scheduler */
  osKernelStart();

  /* We should never get here as control is now taken by the scheduler */

  /* Infinite loop */
  while (1)
  {

  }
}

void SystemClock_Config(void)
{
  RCC_OscInitTypeDef RCC_OscInitStruct = {0};
  RCC_ClkInitTypeDef RCC_ClkInitStruct = {0};

  /** Supply configuration update enable
  */
  HAL_PWREx_ConfigSupply(PWR_LDO_SUPPLY);

  /** Configure the main internal regulator output voltage
  */
  __HAL_PWR_VOLTAGESCALING_CONFIG(PWR_REGULATOR_VOLTAGE_SCALE0);

  while(!__HAL_PWR_GET_FLAG(PWR_FLAG_VOSRDY)) {}

  /** Initializes the RCC Oscillators according to the specified parameters
  * in the RCC_OscInitTypeDef structure.
  */
  RCC_OscInitStruct.OscillatorType = RCC_OSCILLATORTYPE_HSI48|RCC_OSCILLATORTYPE_HSI
                              |RCC_OSCILLATORTYPE_HSE;
  RCC_OscInitStruct.HSEState = RCC_HSE_ON;
  RCC_OscInitStruct.HSIState = RCC_HSI_DIV1;
  RCC_OscInitStruct.HSICalibrationValue = 64;
  RCC_OscInitStruct.HSI48State = RCC_HSI48_ON;
  RCC_OscInitStruct.PLL.PLLState = RCC_PLL_ON;
  RCC_OscInitStruct.PLL.PLLSource = RCC_PLLSOURCE_HSE;
  RCC_OscInitStruct.PLL.PLLM = 2;
  RCC_OscInitStruct.PLL.PLLN = 40;
  RCC_OscInitStruct.PLL.PLLP = 1;
  RCC_OscInitStruct.PLL.PLLQ = 4;
  RCC_OscInitStruct.PLL.PLLR = 2;
  RCC_OscInitStruct.PLL.PLLRGE = RCC_PLL1VCIRANGE_3;
  RCC_OscInitStruct.PLL.PLLVCOSEL = RCC_PLL1VCOWIDE;
  RCC_OscInitStruct.PLL.PLLFRACN = 0;
  if (HAL_RCC_OscConfig(&RCC_OscInitStruct) != HAL_OK)
  {
    Error_Handler();
  }

  /** Initializes the CPU, AHB and APB buses clocks
  */
  RCC_ClkInitStruct.ClockType = RCC_CLOCKTYPE_HCLK|RCC_CLOCKTYPE_SYSCLK
                              |RCC_CLOCKTYPE_PCLK1|RCC_CLOCKTYPE_PCLK2
                              |RCC_CLOCKTYPE_D3PCLK1|RCC_CLOCKTYPE_D1PCLK1;
  RCC_ClkInitStruct.SYSCLKSource = RCC_SYSCLKSOURCE_PLLCLK;
  RCC_ClkInitStruct.SYSCLKDivider = RCC_SYSCLK_DIV1;
  RCC_ClkInitStruct.AHBCLKDivider = RCC_HCLK_DIV2;
  RCC_ClkInitStruct.APB3CLKDivider = RCC_APB3_DIV2;
  RCC_ClkInitStruct.APB1CLKDivider = RCC_APB1_DIV2;
  RCC_ClkInitStruct.APB2CLKDivider = RCC_APB2_DIV2;
  RCC_ClkInitStruct.APB4CLKDivider = RCC_APB4_DIV2;

  if (HAL_RCC_ClockConfig(&RCC_ClkInitStruct, FLASH_LATENCY_3) != HAL_OK)
  {
    Error_Handler();
  }
  HAL_RCC_MCOConfig(RCC_MCO1, RCC_MCO1SOURCE_HSI, RCC_MCODIV_1);
}

void HAL_TIM_PeriodElapsedCallback(TIM_HandleTypeDef *htim)
{
  if (htim->Instance == TIM23) {
    HAL_IncTick();
  }
}

void Error_Handler(void)
{
  __disable_irq();
  while (1)
  {
  }
}

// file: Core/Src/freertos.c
/* USER CODE BEGIN Header */
/**
  ******************************************************************************
  * File Name          : freertos.c
  * Description        : Code for freertos applications
  ******************************************************************************
  * @attention
  *
  * Copyright (c) 2025 STMicroelectronics.
  * All rights reserved.
  *
  * This software is licensed under terms that can be found in the LICENSE file
  * in the root directory of this software component.
  * If no LICENSE file comes with this software, it is provided AS-IS.
  *
  ******************************************************************************
  */
/* USER CODE END Header */

#include "FreeRTOS.h"
#include "task.h"
#include "main.h"
#include "cmsis_os.h"

/* USER CODE BEGIN Includes */
#include "stdbool.h"
#include "usart.h"
#include <rcl/rcl.h>
#include <rcl/error_handling.h>
#include <rclc/rclc.h>
#include <rclc/executor.h>
#include <uxr/client/transport.h>
#include <rmw_microxrcedds_c/config.h>
#include <rmw_microros/rmw_microros.h>

#include <std_msgs/msg/int32.h>
/* USER CODE END Includes */

osThreadId defaultTaskHandle;

/* USER CODE BEGIN FunctionPrototypes */
bool cubemx_transport_open(struct uxrCustomTransport * transport);
bool cubemx_transport_close(struct uxrCustomTransport * transport);
size_t cubemx_transport_write(struct uxrCustomTransport* transport, const uint8_t * buf, size_t len, uint8_t * err);
size_t cubemx_transport_read(struct uxrCustomTransport* transport, uint8_t* buf, size_t len, int timeout, uint8_t* err);

void * microros_allocate(size_t size, void * state);
void microros_deallocate(void * pointer, void * state);
void * microros_reallocate(void * pointer, size_t size, void * state);
void * microros_zero_allocate(size_t number_of_elements, size_t size_of_element, void * state);
/* USER CODE END FunctionPrototypes */

void StartDefaultTask(void const * argument);

extern void MX_USB_DEVICE_Init(void);
void MX_FREERTOS_Init(void); /* (MISRA C 2004 rule 8.1) */

/* GetIdleTaskMemory prototype (linked to static allocation support) */
void vApplicationGetIdleTaskMemory( StaticTask_t **ppxIdleTaskTCBBuffer, StackType_t **ppxIdleTaskStackBuffer, uint32_t *pulIdleTaskStackSize );

/* GetTimerTaskMemory prototype (linked to static allocation support) */
void vApplicationGetTimerTaskMemory( StaticTask_t **ppxTimerTaskTCBBuffer, StackType_t **ppxTimerTaskStackBuffer, uint32_t *pulTimerTaskStackSize );

/* Hook prototypes */
void configureTimerForRunTimeStats(void);
unsigned long getRunTimeCounterValue(void);

/* USER CODE BEGIN 1 */
/* Functions needed when configGENERATE_RUN_TIME_STATS is on */
__weak void configureTimerForRunTimeStats(void)
{

}

__weak unsigned long getRunTimeCounterValue(void)
{
return 0;
}
/* USER CODE END 1 */

/* USER CODE BEGIN GET_IDLE_TASK_MEMORY */
static StaticTask_t xIdleTaskTCBBuffer;
static StackType_t xIdleStack[configMINIMAL_STACK_SIZE];

void vApplicationGetIdleTaskMemory( StaticTask_t **ppxIdleTaskTCBBuffer, StackType_t **ppxIdleTaskStackBuffer, uint32_t *pulIdleTaskStackSize )
{
  *ppxIdleTaskTCBBuffer = &xIdleTaskTCBBuffer;
  *ppxIdleTaskStackBuffer = &xIdleStack[0];
  *pulIdleTaskStackSize = configMINIMAL_STACK_SIZE;
  /* place for user code */
}
/* USER CODE END GET_IDLE_TASK_MEMORY */

/* USER CODE BEGIN GET_TIMER_TASK_MEMORY */
static StaticTask_t xTimerTaskTCBBuffer;
static StackType_t xTimerStack[configTIMER_TASK_STACK_DEPTH];

void vApplicationGetTimerTaskMemory( StaticTask_t **ppxTimerTaskTCBBuffer, StackType_t **ppxTimerTaskStackBuffer, uint32_t *pulTimerTaskStackSize )
{
  *ppxTimerTaskTCBBuffer = &xTimerTaskTCBBuffer;
  *ppxTimerTaskStackBuffer = &xTimerStack[0];
  *pulTimerTaskStackSize = configTIMER_TASK_STACK_DEPTH;
  /* place for user code */
}
/* USER CODE END GET_TIMER_TASK_MEMORY */

void MX_FREERTOS_Init(void) {

  /* Create the thread(s) */
  /* definition and creation of defaultTask */
  osThreadDef(defaultTask, StartDefaultTask, osPriorityNormal, 0, 3000);
  defaultTaskHandle = osThreadCreate(osThread(defaultTask), NULL);

}

void StartDefaultTask(void const * argument)
{
  /* init code for USB_DEVICE */
  MX_USB_DEVICE_Init();
  /* USER CODE BEGIN StartDefaultTask */
  // micro-ROS configuration

  rmw_uros_set_custom_transport(
    true,
    (void *) &huart7,
    cubemx_transport_open,
    cubemx_transport_close,
    cubemx_transport_write,
    cubemx_transport_read);

  rcl_allocator_t freeRTOS_allocator = rcutils_get_zero_initialized_allocator();
  freeRTOS_allocator.allocate = microros_allocate;
  freeRTOS_allocator.deallocate = microros_deallocate;
  freeRTOS_allocator.reallocate = microros_reallocate;
  freeRTOS_allocator.zero_allocate =  microros_zero_allocate;

  if (!rcutils_set_default_allocator(&freeRTOS_allocator)) {
    printf("Error on default allocators (line %d)\n", __LINE__);
  }

  // micro-ROS app

  rcl_publisher_t publisher;
  std_msgs__msg__Int32 msg;
  rclc_support_t support;
  rcl_allocator_t allocator;
  rcl_node_t node;

  allocator = rcl_get_default_allocator();

  //create init_options
  rclc_support_init(&support, 0, NULL, &allocator);

  // create node
  rclc_node_init_default(&node, "mc02_node", "", &support);

  // create publisher
  rclc_publisher_init_default(
    &publisher,
    &node,
    ROSIDL_GET_MSG_TYPE_SUPPORT(std_msgs, msg, Int32),
    "cubemx_publisher");

  msg.data = 0;
  /* Infinite loop */
  for(;;)
  {
    rcl_ret_t ret = rcl_publish(&publisher, &msg, NULL);
    if (ret != RCL_RET_OK)
    {
      printf("Error publishing (line %d)\n", __LINE__);
    }

    msg.data++;
    osDelay(1);
  }
  /* USER CODE END StartDefaultTask */
}
